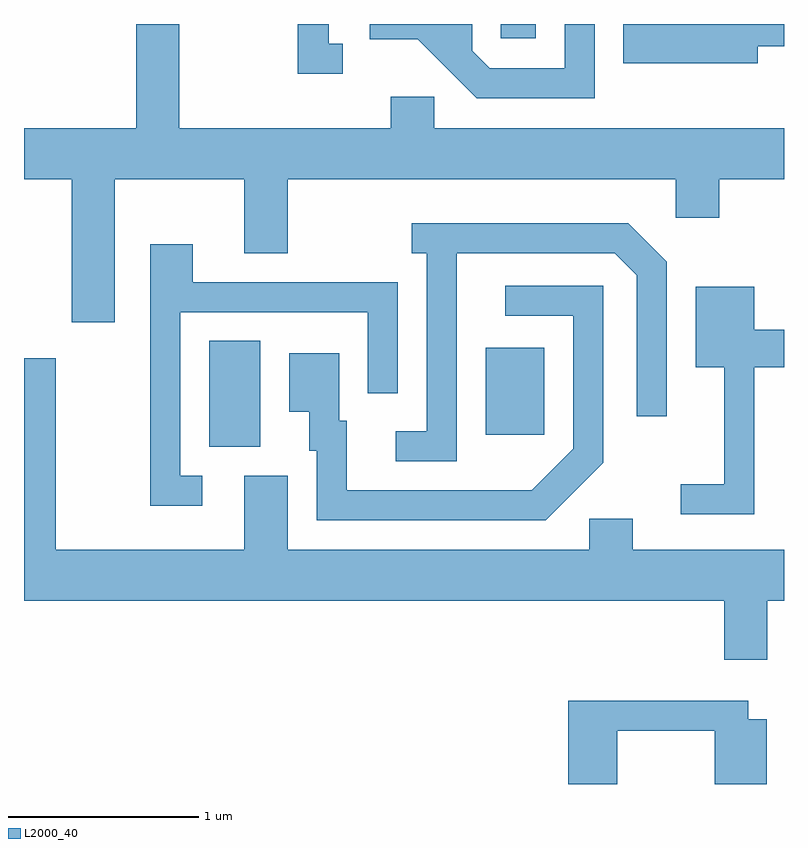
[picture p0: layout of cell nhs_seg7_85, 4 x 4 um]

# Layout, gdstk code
import gdstk
lib = gdstk.Library(unit=1e-6, precision=1e-09)
def R(c, l, rs):  # rectangles x0, y0, x1, y1
    for r in rs: c.add(gdstk.rectangle(r[:2], r[2:], *l))
def P(c, l, *ps):  # polygons
    for p in ps: c.add(gdstk.Polygon(p, *l))
L2000_40 = (2000, 40)

nhs_seg7_85 = lib.new_cell('nhs_seg7_85')
R(nhs_seg7_85, L2000_40, [(188.586,1704.026,188.854,1704.584), (190.041,1704.091,190.349,1704.549), (190.121,1706.176,190.304,1706.252)])
P(nhs_seg7_85, L2000_40, [(188.089,1705.436),(188.771,1705.436),(188.771,1705.046),(188.999,1705.046),(188.999,1705.436),(191.041,1705.436),(191.041,1705.231),(191.269,1705.231),(191.269,1705.436),(191.611,1705.436),(191.611,1705.704),(189.769,1705.704),(189.769,1705.869),(189.541,1705.869),(189.541,1705.704),(188.429,1705.704),(188.429,1706.252),(188.201,1706.252),(188.201,1705.704),(187.611,1705.704),(187.611,1705.436),(187.861,1705.436),(187.861,1704.681),(188.089,1704.681)],
  [(189.288,1706.149),(189.214,1706.149),(189.214,1706.252),(189.051,1706.252),(189.051,1705.991),(189.288,1705.991)],
  [(190.614,1706.252),(190.456,1706.252),(190.456,1706.019),(190.062,1706.019),(189.969,1706.112),(189.969,1706.252),(189.431,1706.252),(189.431,1706.171),(189.684,1706.171),(189.994,1705.861),(190.614,1705.861)],
  [(191.474,1706.136),(191.611,1706.136),(191.611,1706.252),(190.766,1706.252),(190.766,1706.046),(191.474,1706.046)],
  [(189.889,1705.046),(190.719,1705.046),(190.836,1704.929),(190.836,1704.188),(190.994,1704.188),(190.994,1705.002),(190.792,1705.204),(189.653,1705.204),(189.653,1705.046),(189.731,1705.046),(189.731,1704.109),(189.568,1704.109),(189.568,1703.951),(189.889,1703.951)],
  [(188.548,1703.874),(188.434,1703.874),(188.434,1704.736),(189.421,1704.736),(189.421,1704.308),(189.579,1704.308),(189.579,1704.894),(188.499,1704.894),(188.499,1705.094),(188.276,1705.094),(188.276,1703.716),(188.548,1703.716)],
  [(190.659,1703.944),(190.659,1704.874),(190.143,1704.874),(190.143,1704.716),(190.501,1704.716),(190.501,1704.017),(190.284,1703.799),(189.309,1703.799),(189.309,1704.164),(189.269,1704.164),(189.269,1704.519),(189.006,1704.519),(189.006,1704.211),(189.111,1704.211),(189.111,1704.006),(189.151,1704.006),(189.151,1703.641),(190.357,1703.641)],
  [(191.454,1704.446),(191.611,1704.446),(191.611,1704.644),(191.454,1704.644),(191.454,1704.869),(191.146,1704.869),(191.146,1704.446),(191.296,1704.446),(191.296,1703.829),(191.068,1703.829),(191.068,1703.671),(191.454,1703.671)],
  [(191.524,1703.216),(191.611,1703.216),(191.611,1703.484),(190.814,1703.484),(190.814,1703.649),(190.586,1703.649),(190.586,1703.484),(188.999,1703.484),(188.999,1703.874),(188.771,1703.874),(188.771,1703.484),(187.779,1703.484),(187.779,1704.494),(187.611,1704.494),(187.611,1703.216),(191.296,1703.216),(191.296,1702.906),(191.524,1702.906)],
  [(190.734,1702.531),(191.246,1702.531),(191.246,1702.252),(191.519,1702.252),(191.519,1702.594),(191.424,1702.594),(191.424,1702.689),(190.476,1702.689),(190.476,1702.252),(190.734,1702.252)])

lib.write_gds('nhs_seg7_85.gds')
